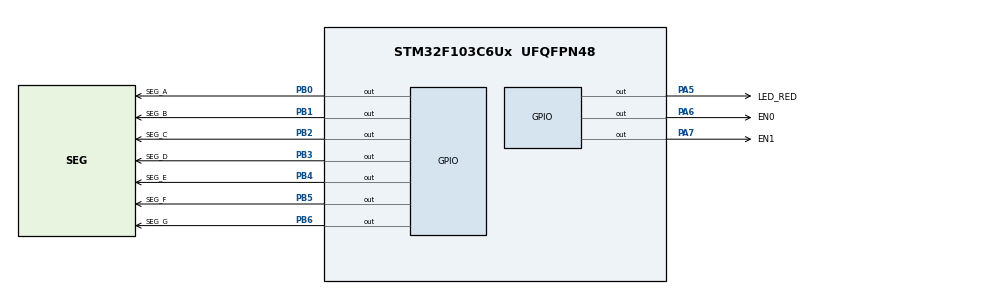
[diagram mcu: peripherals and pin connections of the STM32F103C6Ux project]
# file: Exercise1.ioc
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Mcu.Family=STM32F1
Mcu.Name=STM32F103C6Ux
Mcu.Package=UFQFPN48
NVIC.PriorityGroup=NVIC_PRIORITYGROUP_4
NVIC.TIM2_IRQn=true\:0\:0\:false\:false\:true\:true\:true
PA5.GPIO_Label=LED_RED
PA5.PinState=GPIO_PIN_SET
PA5.Signal=GPIO_Output
PA6.GPIO_Label=EN0
PA6.PinState=GPIO_PIN_SET
PA6.Signal=GPIO_Output
PA7.GPIO_Label=EN1
PA7.PinState=GPIO_PIN_SET
PA7.Signal=GPIO_Output
PB0.GPIO_Label=SEG_A
PB0.PinState=GPIO_PIN_SET
PB0.Signal=GPIO_Output
PB1.GPIO_Label=SEG_B
PB1.PinState=GPIO_PIN_SET
PB1.Signal=GPIO_Output
PB2.GPIO_Label=SEG_C
PB2.PinState=GPIO_PIN_SET
PB2.Signal=GPIO_Output
PB3.GPIO_Label=SEG_D
PB3.PinState=GPIO_PIN_SET
PB3.Signal=GPIO_Output
PB4.GPIO_Label=SEG_E
PB4.PinState=GPIO_PIN_SET
PB4.Signal=GPIO_Output
PB5.GPIO_Label=SEG_F
PB5.PinState=GPIO_PIN_SET
PB5.Signal=GPIO_Output
PB6.GPIO_Label=SEG_G
PB6.PinState=GPIO_PIN_SET
PB6.Signal=GPIO_Output
ProjectManager.HeapSize=0x200
ProjectManager.StackSize=0x400
ProjectManager.TargetToolchain=STM32CubeIDE
RCC.APB1Freq_Value=8000000
RCC.APB2Freq_Value=8000000
TIM2.Period=9
TIM2.Prescaler=7999
VP_SYS_VS_ND.Mode=No_Debug
VP_TIM2_VS_ClockSourceINT.Mode=Internal
board=custom

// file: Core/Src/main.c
/* USER CODE BEGIN Header */
/**
  ******************************************************************************
  * @file           : main.c
  * @brief          : Main program body
  ******************************************************************************
  * @attention
  *
  * <h2><center>&copy; Copyright (c) 2026 STMicroelectronics.
  * All rights reserved.</center></h2>
  *
  * This software component is licensed by ST under BSD 3-Clause license,
  * the "License"; You may not use this file except in compliance with the
  * License. You may obtain a copy of the License at:
  *                        opensource.org/licenses/BSD-3-Clause
  *
  ******************************************************************************
  */
/* USER CODE END Header */
#include "main.h"

TIM_HandleTypeDef htim2;

/* USER CODE BEGIN PV */
int state = 0;     // state = 0 -> hien so 1 ; state = 1 -> hien so 2
int counter = 0;   // dem so lan ngat (moi lan 10ms)
/* USER CODE END PV */

void SystemClock_Config(void);
static void MX_GPIO_Init(void);
static void MX_TIM2_Init(void);
/* USER CODE BEGIN PFP */
void display7SEG(int num);
/* USER CODE END PFP */

int main(void)
{

  /* MCU Configuration--------------------------------------------------------*/

  /* Reset of all peripherals, Initializes the Flash interface and the Systick. */
  HAL_Init();

  /* Configure the system clock */
  SystemClock_Config();

  /* Initialize all configured peripherals */
  MX_GPIO_Init();
  MX_TIM2_Init();
  /* USER CODE BEGIN 2 */
  HAL_TIM_Base_Start_IT(&htim2);
  /* USER CODE END 2 */

  /* Infinite loop */
  while (1)
  {

  }
}

void SystemClock_Config(void)
{
  RCC_OscInitTypeDef RCC_OscInitStruct = {0};
  RCC_ClkInitTypeDef RCC_ClkInitStruct = {0};

  /** Initializes the RCC Oscillators according to the specified parameters
  * in the RCC_OscInitTypeDef structure.
  */
  RCC_OscInitStruct.OscillatorType = RCC_OSCILLATORTYPE_HSI;
  RCC_OscInitStruct.HSIState = RCC_HSI_ON;
  RCC_OscInitStruct.HSICalibrationValue = RCC_HSICALIBRATION_DEFAULT;
  RCC_OscInitStruct.PLL.PLLState = RCC_PLL_NONE;
  if (HAL_RCC_OscConfig(&RCC_OscInitStruct) != HAL_OK)
  {
    Error_Handler();
  }
  /** Initializes the CPU, AHB and APB buses clocks
  */
  RCC_ClkInitStruct.ClockType = RCC_CLOCKTYPE_HCLK|RCC_CLOCKTYPE_SYSCLK
                              |RCC_CLOCKTYPE_PCLK1|RCC_CLOCKTYPE_PCLK2;
  RCC_ClkInitStruct.SYSCLKSource = RCC_SYSCLKSOURCE_HSI;
  RCC_ClkInitStruct.AHBCLKDivider = RCC_SYSCLK_DIV1;
  RCC_ClkInitStruct.APB1CLKDivider = RCC_HCLK_DIV1;
  RCC_ClkInitStruct.APB2CLKDivider = RCC_HCLK_DIV1;

  if (HAL_RCC_ClockConfig(&RCC_ClkInitStruct, FLASH_LATENCY_0) != HAL_OK)
  {
    Error_Handler();
  }
}

static void MX_TIM2_Init(void)
{

  TIM_ClockConfigTypeDef sClockSourceConfig = {0};
  TIM_MasterConfigTypeDef sMasterConfig = {0};

  htim2.Instance = TIM2;
  htim2.Init.Prescaler = 7999;
  htim2.Init.CounterMode = TIM_COUNTERMODE_UP;
  htim2.Init.Period = 9;
  htim2.Init.ClockDivision = TIM_CLOCKDIVISION_DIV1;
  htim2.Init.AutoReloadPreload = TIM_AUTORELOAD_PRELOAD_DISABLE;
  if (HAL_TIM_Base_Init(&htim2) != HAL_OK)
  {
    Error_Handler();
  }
  sClockSourceConfig.ClockSource = TIM_CLOCKSOURCE_INTERNAL;
  if (HAL_TIM_ConfigClockSource(&htim2, &sClockSourceConfig) != HAL_OK)
  {
    Error_Handler();
  }
  sMasterConfig.MasterOutputTrigger = TIM_TRGO_RESET;
  sMasterConfig.MasterSlaveMode = TIM_MASTERSLAVEMODE_DISABLE;
  if (HAL_TIMEx_MasterConfigSynchronization(&htim2, &sMasterConfig) != HAL_OK)
  {
    Error_Handler();
  }

}

static void MX_GPIO_Init(void)
{
  GPIO_InitTypeDef GPIO_InitStruct = {0};

  /* GPIO Ports Clock Enable */
  __HAL_RCC_GPIOA_CLK_ENABLE();
  __HAL_RCC_GPIOB_CLK_ENABLE();

  /*Configure GPIO pin Output Level */
  HAL_GPIO_WritePin(GPIOA, LED_RED_Pin|EN0_Pin|EN1_Pin, GPIO_PIN_SET);

  /*Configure GPIO pin Output Level */
  HAL_GPIO_WritePin(GPIOB, SEG_A_Pin|SEG_B_Pin|SEG_C_Pin|SEG_D_Pin
                          |SEG_E_Pin|SEG_F_Pin|SEG_G_Pin, GPIO_PIN_SET);

  /*Configure GPIO pins : LED_RED_Pin EN0_Pin EN1_Pin */
  GPIO_InitStruct.Pin = LED_RED_Pin|EN0_Pin|EN1_Pin;
  GPIO_InitStruct.Mode = GPIO_MODE_OUTPUT_PP;
  GPIO_InitStruct.Pull = GPIO_NOPULL;
  GPIO_InitStruct.Speed = GPIO_SPEED_FREQ_LOW;
  HAL_GPIO_Init(GPIOA, &GPIO_InitStruct);

  /*Configure GPIO pins : SEG_A_Pin SEG_B_Pin SEG_C_Pin SEG_D_Pin
                           SEG_E_Pin SEG_F_Pin SEG_G_Pin */
  GPIO_InitStruct.Pin = SEG_A_Pin|SEG_B_Pin|SEG_C_Pin|SEG_D_Pin
                          |SEG_E_Pin|SEG_F_Pin|SEG_G_Pin;
  GPIO_InitStruct.Mode = GPIO_MODE_OUTPUT_PP;
  GPIO_InitStruct.Pull = GPIO_NOPULL;
  GPIO_InitStruct.Speed = GPIO_SPEED_FREQ_LOW;
  HAL_GPIO_Init(GPIOB, &GPIO_InitStruct);

}

/* USER CODE BEGIN 4 */
void display7SEG(int num)
{
    if (num == 0) {
        HAL_GPIO_WritePin(GPIOB, SEG_A_Pin, GPIO_PIN_RESET);
        HAL_GPIO_WritePin(GPIOB, SEG_B_Pin, GPIO_PIN_RESET);
        HAL_GPIO_WritePin(GPIOB, SEG_C_Pin, GPIO_PIN_RESET);
        HAL_GPIO_WritePin(GPIOB, SEG_D_Pin, GPIO_PIN_RESET);
        HAL_GPIO_WritePin(GPIOB, SEG_E_Pin, GPIO_PIN_RESET);
        HAL_GPIO_WritePin(GPIOB, SEG_F_Pin, GPIO_PIN_RESET);
        HAL_GPIO_WritePin(GPIOB, SEG_G_Pin, GPIO_PIN_SET);
    }
    else if (num == 1) {
        HAL_GPIO_WritePin(GPIOB, SEG_A_Pin, GPIO_PIN_SET);
        HAL_GPIO_WritePin(GPIOB, SEG_B_Pin, GPIO_PIN_RESET);
        HAL_GPIO_WritePin(GPIOB, SEG_C_Pin, GPIO_PIN_RESET);
        HAL_GPIO_WritePin(GPIOB, SEG_D_Pin, GPIO_PIN_SET);
        HAL_GPIO_WritePin(GPIOB, SEG_E_Pin, GPIO_PIN_SET);
        HAL_GPIO_WritePin(GPIOB, SEG_F_Pin, GPIO_PIN_SET);
        HAL_GPIO_WritePin(GPIOB, SEG_G_Pin, GPIO_PIN_SET);
    }
    else if (num == 2) {
        HAL_GPIO_WritePin(GPIOB, SEG_A_Pin, GPIO_PIN_RESET);
        HAL_GPIO_WritePin(GPIOB, SEG_B_Pin, GPIO_PIN_RESET);
        HAL_GPIO_WritePin(GPIOB, SEG_C_Pin, GPIO_PIN_SET);
        HAL_GPIO_WritePin(GPIOB, SEG_D_Pin, GPIO_PIN_RESET);
        HAL_GPIO_WritePin(GPIOB, SEG_E_Pin, GPIO_PIN_RESET);
        HAL_GPIO_WritePin(GPIOB, SEG_F_Pin, GPIO_PIN_SET);
        HAL_GPIO_WritePin(GPIOB, SEG_G_Pin, GPIO_PIN_RESET);
    }
    else if (num == 3) {
        HAL_GPIO_WritePin(GPIOB, SEG_A_Pin, GPIO_PIN_RESET);
        HAL_GPIO_WritePin(GPIOB, SEG_B_Pin, GPIO_PIN_RESET);
        HAL_GPIO_WritePin(GPIOB, SEG_C_Pin, GPIO_PIN_RESET);
        HAL_GPIO_WritePin(GPIOB, SEG_D_Pin, GPIO_PIN_RESET);
        HAL_GPIO_WritePin(GPIOB, SEG_E_Pin, GPIO_PIN_SET);
        HAL_GPIO_WritePin(GPIOB, SEG_F_Pin, GPIO_PIN_SET);
        HAL_GPIO_WritePin(GPIOB, SEG_G_Pin, GPIO_PIN_RESET);
    }
    else if (num == 4) {
        HAL_GPIO_WritePin(GPIOB, SEG_A_Pin, GPIO_PIN_SET);
        HAL_GPIO_WritePin(GPIOB, SEG_B_Pin, GPIO_PIN_RESET);
        HAL_GPIO_WritePin(GPIOB, SEG_C_Pin, GPIO_PIN_RESET);
        HAL_GPIO_WritePin(GPIOB, SEG_D_Pin, GPIO_PIN_SET);
        HAL_GPIO_WritePin(GPIOB, SEG_E_Pin, GPIO_PIN_SET);
        HAL_GPIO_WritePin(GPIOB, SEG_F_Pin, GPIO_PIN_RESET);
        HAL_GPIO_WritePin(GPIOB, SEG_G_Pin, GPIO_PIN_RESET);
    }
    else if (num == 5) {
        HAL_GPIO_WritePin(GPIOB, SEG_A_Pin, GPIO_PIN_RESET);
        HAL_GPIO_WritePin(GPIOB, SEG_B_Pin, GPIO_PIN_SET);
        HAL_GPIO_WritePin(GPIOB, SEG_C_Pin, GPIO_PIN_RESET);
        HAL_GPIO_WritePin(GPIOB, SEG_D_Pin, GPIO_PIN_RESET);
        HAL_GPIO_WritePin(GPIOB, SEG_E_Pin, GPIO_PIN_SET);
        HAL_GPIO_WritePin(GPIOB, SEG_F_Pin, GPIO_PIN_RESET);
        HAL_GPIO_WritePin(GPIOB, SEG_G_Pin, GPIO_PIN_RESET);
    }
    else if (num == 6) {
        HAL_GPIO_WritePin(GPIOB, SEG_A_Pin, GPIO_PIN_RESET);
        HAL_GPIO_WritePin(GPIOB, SEG_B_Pin, GPIO_PIN_SET);
        HAL_GPIO_WritePin(GPIOB, SEG_C_Pin, GPIO_PIN_RESET);
        HAL_GPIO_WritePin(GPIOB, SEG_D_Pin, GPIO_PIN_RESET);
        HAL_GPIO_WritePin(GPIOB, SEG_E_Pin, GPIO_PIN_RESET);
        HAL_GPIO_WritePin(GPIOB, SEG_F_Pin, GPIO_PIN_RESET);
        HAL_GPIO_WritePin(GPIOB, SEG_G_Pin, GPIO_PIN_RESET);
    }
    else if (num == 7) {
        HAL_GPIO_WritePin(GPIOB, SEG_A_Pin, GPIO_PIN_RESET);
        HAL_GPIO_WritePin(GPIOB, SEG_B_Pin, GPIO_PIN_RESET);
        HAL_GPIO_WritePin(GPIOB, SEG_C_Pin, GPIO_PIN_RESET);
        HAL_GPIO_WritePin(GPIOB, SEG_D_Pin, GPIO_PIN_SET);
        HAL_GPIO_WritePin(GPIOB, SEG_E_Pin, GPIO_PIN_SET);
        HAL_GPIO_WritePin(GPIOB, SEG_F_Pin, GPIO_PIN_SET);
        HAL_GPIO_WritePin(GPIOB, SEG_G_Pin, GPIO_PIN_SET);
    }
    else if (num == 8) {
        HAL_GPIO_WritePin(GPIOB, SEG_A_Pin, GPIO_PIN_RESET);
        HAL_GPIO_WritePin(GPIOB, SEG_B_Pin, GPIO_PIN_RESET);
        HAL_GPIO_WritePin(GPIOB, SEG_C_Pin, GPIO_PIN_RESET);
        HAL_GPIO_WritePin(GPIOB, SEG_D_Pin, GPIO_PIN_RESET);
        HAL_GPIO_WritePin(GPIOB, SEG_E_Pin, GPIO_PIN_RESET);
        HAL_GPIO_WritePin(GPIOB, SEG_F_Pin, GPIO_PIN_RESET);
        HAL_GPIO_WritePin(GPIOB, SEG_G_Pin, GPIO_PIN_RESET);
    }
    else if (num == 9) {
        HAL_GPIO_WritePin(GPIOB, SEG_A_Pin, GPIO_PIN_RESET);
        HAL_GPIO_WritePin(GPIOB, SEG_B_Pin, GPIO_PIN_RESET);
        HAL_GPIO_WritePin(GPIOB, SEG_C_Pin, GPIO_PIN_RESET);
        HAL_GPIO_WritePin(GPIOB, SEG_D_Pin, GPIO_PIN_RESET);
        HAL_GPIO_WritePin(GPIOB, SEG_E_Pin, GPIO_PIN_SET);
        HAL_GPIO_WritePin(GPIOB, SEG_F_Pin, GPIO_PIN_RESET);
        HAL_GPIO_WritePin(GPIOB, SEG_G_Pin, GPIO_PIN_RESET);
    }
    else {
        HAL_GPIO_WritePin(GPIOB, SEG_A_Pin, GPIO_PIN_SET);
        HAL_GPIO_WritePin(GPIOB, SEG_B_Pin, GPIO_PIN_SET);
        HAL_GPIO_WritePin(GPIOB, SEG_C_Pin, GPIO_PIN_SET);
        HAL_GPIO_WritePin(GPIOB, SEG_D_Pin, GPIO_PIN_SET);
        HAL_GPIO_WritePin(GPIOB, SEG_E_Pin, GPIO_PIN_SET);
        HAL_GPIO_WritePin(GPIOB, SEG_F_Pin, GPIO_PIN_SET);
        HAL_GPIO_WritePin(GPIOB, SEG_G_Pin, GPIO_PIN_SET);
    }
}

// state = 0 -> hien so 1 tren 7SEG thu nhat
// state = 1 -> hien so 2 tren 7SEG thu hai
void HAL_TIM_PeriodElapsedCallback(TIM_HandleTypeDef *htim)
{
    if (htim->Instance != TIM2) return;

    counter++;
    switch (state) {
        case 0:
            HAL_GPIO_WritePin(EN0_GPIO_Port, EN0_Pin, GPIO_PIN_RESET); // bat LED 1
            HAL_GPIO_WritePin(EN1_GPIO_Port, EN1_Pin, GPIO_PIN_SET);   // tat LED 2
            display7SEG(1);
            if (counter >= 50) {   // 50 x 10ms = 500ms
                counter = 0;
                state = 1;
            }
            break;
        case 1:
            HAL_GPIO_WritePin(EN0_GPIO_Port, EN0_Pin, GPIO_PIN_SET);   // tat LED 1
            HAL_GPIO_WritePin(EN1_GPIO_Port, EN1_Pin, GPIO_PIN_RESET); // bat LED 2
            display7SEG(2);
            if (counter >= 50) {
                counter = 0;
                state = 0;
            }
            break;
        default:
            break;
    }
}
/* USER CODE END 4 */

void Error_Handler(void)
{
  __disable_irq();
  while (1)
  {
  }
}

/************************ (C) COPYRIGHT STMicroelectronics *****END OF FILE****/
